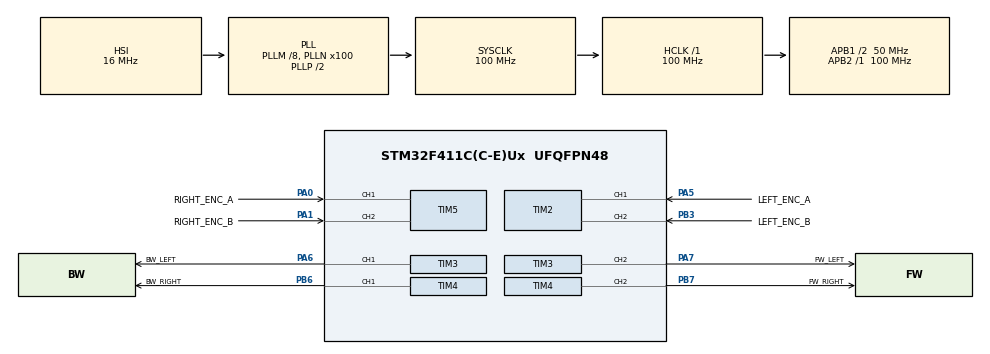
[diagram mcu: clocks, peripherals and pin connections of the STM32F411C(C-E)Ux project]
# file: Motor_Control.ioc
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Mcu.Family=STM32F4
Mcu.Name=STM32F411C(C-E)Ux
Mcu.Package=UFQFPN48
NVIC.PriorityGroup=NVIC_PRIORITYGROUP_4
NVIC.TIM1_TRG_COM_TIM11_IRQn=true\:0\:0\:false\:false\:true\:true\:true\:true
NVIC.TIM2_IRQn=true\:0\:0\:false\:false\:true\:true\:true\:true
NVIC.TIM5_IRQn=true\:0\:0\:false\:false\:true\:true\:true\:true
PA0-WKUP.GPIO_Label=RIGHT_ENC_A
PA0-WKUP.Signal=S_TIM5_CH1
PA1.GPIO_Label=RIGHT_ENC_B
PA1.Signal=S_TIM5_CH2
PA13.Mode=Serial_Wire
PA13.Signal=SYS_JTMS-SWDIO
PA14.Mode=Serial_Wire
PA14.Signal=SYS_JTCK-SWCLK
PA5.GPIO_Label=LEFT_ENC_A
PA5.Signal=S_TIM2_CH1_ETR
PA6.GPIO_Label=BW_LEFT
PA6.GPIO_Speed=GPIO_SPEED_FREQ_HIGH
PA6.Signal=S_TIM3_CH1
PA7.GPIO_Label=FW_LEFT
PA7.GPIO_Speed=GPIO_SPEED_FREQ_HIGH
PA7.Signal=S_TIM3_CH2
PB3.GPIO_Label=LEFT_ENC_B
PB3.Signal=S_TIM2_CH2
PB6.GPIO_Label=BW_RIGHT
PB6.GPIO_Speed=GPIO_SPEED_FREQ_HIGH
PB6.Signal=S_TIM4_CH1
PB7.GPIO_Label=FW_RIGHT
PB7.GPIO_Speed=GPIO_SPEED_FREQ_HIGH
PB7.Signal=S_TIM4_CH2
PH0\ -\ OSC_IN.Mode=HSE-External-Oscillator
PH0\ -\ OSC_IN.Signal=RCC_OSC_IN
PH1\ -\ OSC_OUT.Mode=HSE-External-Oscillator
PH1\ -\ OSC_OUT.Signal=RCC_OSC_OUT
ProjectManager.HeapSize=0x200
ProjectManager.StackSize=0x400
ProjectManager.TargetToolchain=STM32CubeIDE
RCC.48MHZClocksFreq_Value=50000000
RCC.AHBFreq_Value=100000000
RCC.APB1CLKDivider=RCC_HCLK_DIV2
RCC.APB1Freq_Value=50000000
RCC.APB1TimFreq_Value=100000000
RCC.APB2Freq_Value=100000000
RCC.APB2TimFreq_Value=100000000
RCC.CortexFreq_Value=100000000
RCC.HCLKFreq_Value=100000000
RCC.HSE_VALUE=25000000
RCC.HSI_VALUE=16000000
RCC.LSE_VALUE=32768
RCC.PLLM=8
RCC.PLLN=100
RCC.SYSCLKFreq_VALUE=100000000
RCC.SYSCLKSource=RCC_SYSCLKSOURCE_PLLCLK
RCC.VCOOutputFreq_Value=200000000
SH.S_TIM2_CH1_ETR.0=TIM2_CH1,Encoder_Interface
SH.S_TIM2_CH2.0=TIM2_CH2,Encoder_Interface
SH.S_TIM3_CH1.0=TIM3_CH1,PWM Generation1 CH1
SH.S_TIM3_CH2.0=TIM3_CH2,PWM Generation2 CH2
SH.S_TIM4_CH1.0=TIM4_CH1,PWM Generation1 CH1
SH.S_TIM4_CH2.0=TIM4_CH2,PWM Generation2 CH2
SH.S_TIM5_CH1.0=TIM5_CH1,Encoder_Interface
SH.S_TIM5_CH2.0=TIM5_CH2,Encoder_Interface
TIM11.Period=99
TIM11.Prescaler=999
TIM2.EncoderMode=TIM_ENCODERMODE_TI12
TIM3.Channel-PWM\ Generation1\ CH1=TIM_CHANNEL_1
TIM3.Channel-PWM\ Generation2\ CH2=TIM_CHANNEL_2
TIM3.Period=4
TIM3.Pulse-PWM\ Generation1\ CH1=0
TIM4.Channel-PWM\ Generation1\ CH1=TIM_CHANNEL_1
TIM4.Channel-PWM\ Generation2\ CH2=TIM_CHANNEL_2
TIM4.Period=4
TIM5.EncoderMode=TIM_ENCODERMODE_TI12
VP_TIM11_VS_ClockSourceINT.Mode=Enable_Timer
VP_TIM3_VS_ClockSourceINT.Mode=Internal
VP_TIM4_VS_ClockSourceINT.Mode=Internal
board=custom

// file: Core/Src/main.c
/* USER CODE BEGIN Header */
/**
  ******************************************************************************
  * @file           : main.c
  * @brief          : Main program body
  ******************************************************************************
  * @attention
  *
  * Copyright (c) 2024 STMicroelectronics.
  * All rights reserved.
  *
  * This software is licensed under terms that can be found in the LICENSE file
  * in the root directory of this software component.
  * If no LICENSE file comes with this software, it is provided AS-IS.
  *
  ******************************************************************************
  */
/* USER CODE END Header */
#include "main.h"

TIM_HandleTypeDef htim2;
TIM_HandleTypeDef htim3;
TIM_HandleTypeDef htim4;
TIM_HandleTypeDef htim5;
TIM_HandleTypeDef htim11;

void SystemClock_Config(void);
static void MX_GPIO_Init(void);
static void MX_TIM2_Init(void);
static void MX_TIM5_Init(void);
static void MX_TIM11_Init(void);
static void MX_TIM3_Init(void);
static void MX_TIM4_Init(void);

/* USER CODE BEGIN 0 */
//user-defined function prototype
void LEFT_PWM_SET(int16_t, int16_t);
void RIGHT_PWM_SET(int16_t, int16_t);

volatile int32_t left_cnt = 0;
volatile int32_t right_cnt = 0;

volatile float left_spd = 0;
volatile float right_spd = 0;
//Using polling rather interrupt. STM32 has its own counter register so won't be mis-count the tick and just need to update each 1us for spd calculation

/* USER CODE END 0 */

int main(void)
{

  /* MCU Configuration--------------------------------------------------------*/

  /* Reset of all peripherals, Initializes the Flash interface and the Systick. */
  HAL_Init();

  /* Configure the system clock */
  SystemClock_Config();

  /* Initialize all configured peripherals */
  MX_GPIO_Init();
  MX_TIM2_Init();
  MX_TIM5_Init();
  MX_TIM11_Init();
  MX_TIM3_Init();
  MX_TIM4_Init();
  /* USER CODE BEGIN 2 */
  //Optional: Setting priority for Encoder NVIC in the future, this give higher priority and code run correctly when i have more interrupt in the future

  /* USER CODE END 2 */

  /* Infinite loop */
  while (1)
  {

    /* USER CODE BEGIN 3 */
	  LEFT_PWM_SET(6250,0);
	  HAL_Delay(1000);

	  LEFT_PWM_SET(0,6250);
	  HAL_Delay(1000);

	  LEFT_PWM_SET(0,0);

	  RIGHT_PWM_SET(6250,0);
	  HAL_Delay(1000);

	  RIGHT_PWM_SET(0,6250);
	  HAL_Delay(1000);

	  RIGHT_PWM_SET(0,0);
  }
  /* USER CODE END 3 */
}

void SystemClock_Config(void)
{
  RCC_OscInitTypeDef RCC_OscInitStruct = {0};
  RCC_ClkInitTypeDef RCC_ClkInitStruct = {0};

  /** Configure the main internal regulator output voltage
  */
  __HAL_RCC_PWR_CLK_ENABLE();
  __HAL_PWR_VOLTAGESCALING_CONFIG(PWR_REGULATOR_VOLTAGE_SCALE1);

  /** Initializes the RCC Oscillators according to the specified parameters
  * in the RCC_OscInitTypeDef structure.
  */
  RCC_OscInitStruct.OscillatorType = RCC_OSCILLATORTYPE_HSI;
  RCC_OscInitStruct.HSIState = RCC_HSI_ON;
  RCC_OscInitStruct.HSICalibrationValue = RCC_HSICALIBRATION_DEFAULT;
  RCC_OscInitStruct.PLL.PLLState = RCC_PLL_ON;
  RCC_OscInitStruct.PLL.PLLSource = RCC_PLLSOURCE_HSI;
  RCC_OscInitStruct.PLL.PLLM = 8;
  RCC_OscInitStruct.PLL.PLLN = 100;
  RCC_OscInitStruct.PLL.PLLP = RCC_PLLP_DIV2;
  RCC_OscInitStruct.PLL.PLLQ = 4;
  if (HAL_RCC_OscConfig(&RCC_OscInitStruct) != HAL_OK)
  {
    Error_Handler();
  }

  /** Initializes the CPU, AHB and APB buses clocks
  */
  RCC_ClkInitStruct.ClockType = RCC_CLOCKTYPE_HCLK|RCC_CLOCKTYPE_SYSCLK
                              |RCC_CLOCKTYPE_PCLK1|RCC_CLOCKTYPE_PCLK2;
  RCC_ClkInitStruct.SYSCLKSource = RCC_SYSCLKSOURCE_PLLCLK;
  RCC_ClkInitStruct.AHBCLKDivider = RCC_SYSCLK_DIV1;
  RCC_ClkInitStruct.APB1CLKDivider = RCC_HCLK_DIV2;
  RCC_ClkInitStruct.APB2CLKDivider = RCC_HCLK_DIV1;

  if (HAL_RCC_ClockConfig(&RCC_ClkInitStruct, FLASH_LATENCY_3) != HAL_OK)
  {
    Error_Handler();
  }
}

static void MX_TIM2_Init(void)
{

  TIM_Encoder_InitTypeDef sConfig = {0};
  TIM_MasterConfigTypeDef sMasterConfig = {0};

  htim2.Instance = TIM2;
  htim2.Init.Prescaler = 0;
  htim2.Init.CounterMode = TIM_COUNTERMODE_UP;
  htim2.Init.Period = 4294967295;
  htim2.Init.ClockDivision = TIM_CLOCKDIVISION_DIV1;
  htim2.Init.AutoReloadPreload = TIM_AUTORELOAD_PRELOAD_DISABLE;
  sConfig.EncoderMode = TIM_ENCODERMODE_TI12;
  sConfig.IC1Polarity = TIM_ICPOLARITY_RISING;
  sConfig.IC1Selection = TIM_ICSELECTION_DIRECTTI;
  sConfig.IC1Prescaler = TIM_ICPSC_DIV1;
  sConfig.IC1Filter = 0;
  sConfig.IC2Polarity = TIM_ICPOLARITY_RISING;
  sConfig.IC2Selection = TIM_ICSELECTION_DIRECTTI;
  sConfig.IC2Prescaler = TIM_ICPSC_DIV1;
  sConfig.IC2Filter = 0;
  if (HAL_TIM_Encoder_Init(&htim2, &sConfig) != HAL_OK)
  {
    Error_Handler();
  }
  sMasterConfig.MasterOutputTrigger = TIM_TRGO_RESET;
  sMasterConfig.MasterSlaveMode = TIM_MASTERSLAVEMODE_DISABLE;
  if (HAL_TIMEx_MasterConfigSynchronization(&htim2, &sMasterConfig) != HAL_OK)
  {
    Error_Handler();
  }
  /* USER CODE BEGIN TIM2_Init 2 */
  HAL_TIM_Encoder_Start_IT(&htim2, TIM_CHANNEL_ALL); //Left encoder timer

  /* USER CODE END TIM2_Init 2 */

}

static void MX_TIM3_Init(void)
{

  TIM_ClockConfigTypeDef sClockSourceConfig = {0};
  TIM_MasterConfigTypeDef sMasterConfig = {0};
  TIM_OC_InitTypeDef sConfigOC = {0};

  htim3.Instance = TIM3;
  htim3.Init.Prescaler = 0;
  htim3.Init.CounterMode = TIM_COUNTERMODE_UP;
  htim3.Init.Period = 4;
  htim3.Init.ClockDivision = TIM_CLOCKDIVISION_DIV1;
  htim3.Init.AutoReloadPreload = TIM_AUTORELOAD_PRELOAD_DISABLE;
  if (HAL_TIM_Base_Init(&htim3) != HAL_OK)
  {
    Error_Handler();
  }
  sClockSourceConfig.ClockSource = TIM_CLOCKSOURCE_INTERNAL;
  if (HAL_TIM_ConfigClockSource(&htim3, &sClockSourceConfig) != HAL_OK)
  {
    Error_Handler();
  }
  if (HAL_TIM_PWM_Init(&htim3) != HAL_OK)
  {
    Error_Handler();
  }
  sMasterConfig.MasterOutputTrigger = TIM_TRGO_RESET;
  sMasterConfig.MasterSlaveMode = TIM_MASTERSLAVEMODE_DISABLE;
  if (HAL_TIMEx_MasterConfigSynchronization(&htim3, &sMasterConfig) != HAL_OK)
  {
    Error_Handler();
  }
  sConfigOC.OCMode = TIM_OCMODE_PWM1;
  sConfigOC.Pulse = 0;
  sConfigOC.OCPolarity = TIM_OCPOLARITY_HIGH;
  sConfigOC.OCFastMode = TIM_OCFAST_DISABLE;
  if (HAL_TIM_PWM_ConfigChannel(&htim3, &sConfigOC, TIM_CHANNEL_1) != HAL_OK)
  {
    Error_Handler();
  }
  if (HAL_TIM_PWM_ConfigChannel(&htim3, &sConfigOC, TIM_CHANNEL_2) != HAL_OK)
  {
    Error_Handler();
  }
  /* USER CODE BEGIN TIM3_Init 2 */

  //Starting PWM TIM3 Channel 1 & 2
  HAL_TIM_PWM_Start(&htim3, TIM_CHANNEL_1);
  HAL_TIM_PWM_Start(&htim3, TIM_CHANNEL_2);

  /* USER CODE END TIM3_Init 2 */
  HAL_TIM_MspPostInit(&htim3);

}

static void MX_TIM4_Init(void)
{

  TIM_ClockConfigTypeDef sClockSourceConfig = {0};
  TIM_MasterConfigTypeDef sMasterConfig = {0};
  TIM_OC_InitTypeDef sConfigOC = {0};

  htim4.Instance = TIM4;
  htim4.Init.Prescaler = 0;
  htim4.Init.CounterMode = TIM_COUNTERMODE_UP;
  htim4.Init.Period = 4;
  htim4.Init.ClockDivision = TIM_CLOCKDIVISION_DIV1;
  htim4.Init.AutoReloadPreload = TIM_AUTORELOAD_PRELOAD_DISABLE;
  if (HAL_TIM_Base_Init(&htim4) != HAL_OK)
  {
    Error_Handler();
  }
  sClockSourceConfig.ClockSource = TIM_CLOCKSOURCE_INTERNAL;
  if (HAL_TIM_ConfigClockSource(&htim4, &sClockSourceConfig) != HAL_OK)
  {
    Error_Handler();
  }
  if (HAL_TIM_PWM_Init(&htim4) != HAL_OK)
  {
    Error_Handler();
  }
  sMasterConfig.MasterOutputTrigger = TIM_TRGO_RESET;
  sMasterConfig.MasterSlaveMode = TIM_MASTERSLAVEMODE_DISABLE;
  if (HAL_TIMEx_MasterConfigSynchronization(&htim4, &sMasterConfig) != HAL_OK)
  {
    Error_Handler();
  }
  sConfigOC.OCMode = TIM_OCMODE_PWM1;
  sConfigOC.Pulse = 0;
  sConfigOC.OCPolarity = TIM_OCPOLARITY_HIGH;
  sConfigOC.OCFastMode = TIM_OCFAST_DISABLE;
  if (HAL_TIM_PWM_ConfigChannel(&htim4, &sConfigOC, TIM_CHANNEL_1) != HAL_OK)
  {
    Error_Handler();
  }
  if (HAL_TIM_PWM_ConfigChannel(&htim4, &sConfigOC, TIM_CHANNEL_2) != HAL_OK)
  {
    Error_Handler();
  }
  /* USER CODE BEGIN TIM4_Init 2 */

  //Starting PWM TIM4 PWM Channel 1 & 2
  HAL_TIM_PWM_Start(&htim4, TIM_CHANNEL_1);
  HAL_TIM_PWM_Start(&htim4, TIM_CHANNEL_2);

  /* USER CODE END TIM4_Init 2 */
  HAL_TIM_MspPostInit(&htim4);

}

static void MX_TIM5_Init(void)
{

  TIM_Encoder_InitTypeDef sConfig = {0};
  TIM_MasterConfigTypeDef sMasterConfig = {0};

  htim5.Instance = TIM5;
  htim5.Init.Prescaler = 0;
  htim5.Init.CounterMode = TIM_COUNTERMODE_UP;
  htim5.Init.Period = 4294967295;
  htim5.Init.ClockDivision = TIM_CLOCKDIVISION_DIV1;
  htim5.Init.AutoReloadPreload = TIM_AUTORELOAD_PRELOAD_DISABLE;
  sConfig.EncoderMode = TIM_ENCODERMODE_TI12;
  sConfig.IC1Polarity = TIM_ICPOLARITY_RISING;
  sConfig.IC1Selection = TIM_ICSELECTION_DIRECTTI;
  sConfig.IC1Prescaler = TIM_ICPSC_DIV1;
  sConfig.IC1Filter = 0;
  sConfig.IC2Polarity = TIM_ICPOLARITY_RISING;
  sConfig.IC2Selection = TIM_ICSELECTION_DIRECTTI;
  sConfig.IC2Prescaler = TIM_ICPSC_DIV1;
  sConfig.IC2Filter = 0;
  if (HAL_TIM_Encoder_Init(&htim5, &sConfig) != HAL_OK)
  {
    Error_Handler();
  }
  sMasterConfig.MasterOutputTrigger = TIM_TRGO_RESET;
  sMasterConfig.MasterSlaveMode = TIM_MASTERSLAVEMODE_DISABLE;
  if (HAL_TIMEx_MasterConfigSynchronization(&htim5, &sMasterConfig) != HAL_OK)
  {
    Error_Handler();
  }
  /* USER CODE BEGIN TIM5_Init 2 */
  HAL_TIM_Encoder_Start_IT(&htim5, TIM_CHANNEL_ALL); //Right encoder timer

  /* USER CODE END TIM5_Init 2 */

}

static void MX_TIM11_Init(void)
{

  htim11.Instance = TIM11;
  htim11.Init.Prescaler = 999;
  htim11.Init.CounterMode = TIM_COUNTERMODE_UP;
  htim11.Init.Period = 99;
  htim11.Init.ClockDivision = TIM_CLOCKDIVISION_DIV1;
  htim11.Init.AutoReloadPreload = TIM_AUTORELOAD_PRELOAD_DISABLE;
  if (HAL_TIM_Base_Init(&htim11) != HAL_OK)
  {
    Error_Handler();
  }
  /* USER CODE BEGIN TIM11_Init 2 */
  HAL_TIM_Base_Start_IT(&htim11);
  /* USER CODE END TIM11_Init 2 */

}

static void MX_GPIO_Init(void)
{

  /* GPIO Ports Clock Enable */
  __HAL_RCC_GPIOH_CLK_ENABLE();
  __HAL_RCC_GPIOA_CLK_ENABLE();
  __HAL_RCC_GPIOB_CLK_ENABLE();

}

/* USER CODE BEGIN 4 */
//Recommended put user define function in this section

//Speed calculation
/*
void HAL_TIM_PeriodElapsedCallback(TIM_HandleTypeDef *htim)
	{
		if (htim -> Instance == TIM11)
		{
			left_cnt = __HAL_TIM_GET_COUNTER(&htim2);
			right_cnt = __HAL_TIM_GET_COUNTER(&htim5);

			left_spd = ((float)left_cnt / 617.0f) * (2 * M_PI * 16); //speed in millimeter out of millisecond
			right_spd = ((float)right_cnt / 617.0f) * (2 * M_PI * 16); //speed in millimeter out of millisecond

			__HAL_TIM_SET_COUNTER(&htim2,0);
			__HAL_TIM_SET_COUNTER(&htim5,0);

		}
	}
*/

//Left Motor PWM Control
void LEFT_PWM_SET (int16_t FW_duty, int16_t BW_duty)
{
	__HAL_TIM_SET_COMPARE(&htim3, TIM_CHANNEL_1, FW_duty);
	__HAL_TIM_SET_COMPARE(&htim3, TIM_CHANNEL_2, BW_duty);
}

// Right Motor PWM Control
void RIGHT_PWM_SET (int16_t FW_duty, int16_t BW_duty)
{
	__HAL_TIM_SET_COMPARE(&htim4, TIM_CHANNEL_1, FW_duty);
	__HAL_TIM_SET_COMPARE(&htim4, TIM_CHANNEL_2, BW_duty);
}

/* USER CODE END 4 */

void Error_Handler(void)
{
  __disable_irq();
  while (1)
  {
  }
}
